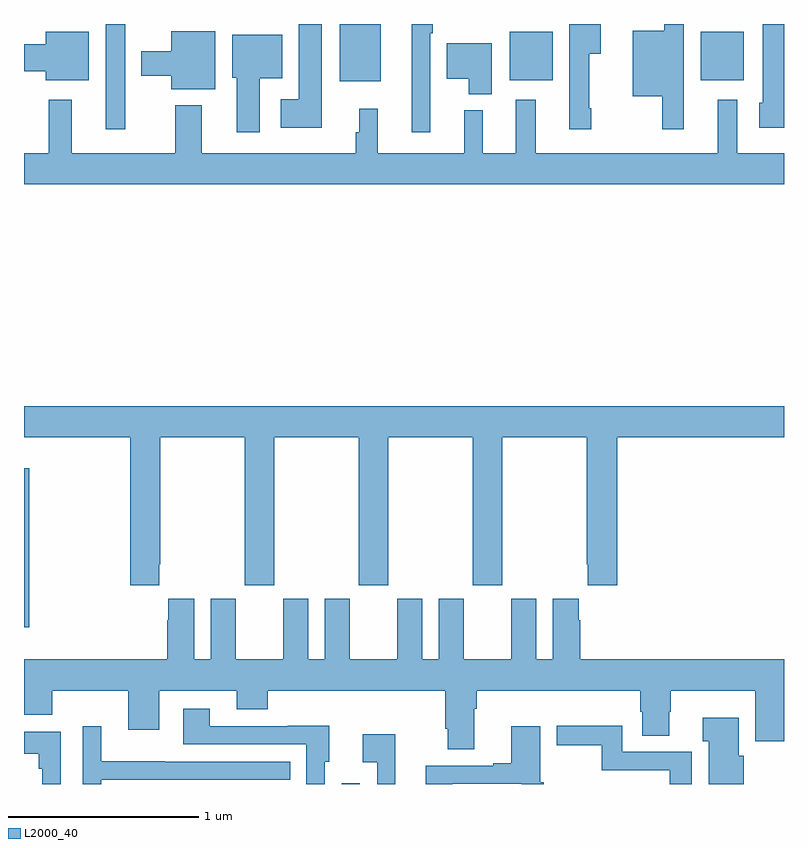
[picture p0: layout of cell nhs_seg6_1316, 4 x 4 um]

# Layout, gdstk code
import gdstk
lib = gdstk.Library(unit=1e-6, precision=1e-09)
def R(c, l, rs):  # rectangles x0, y0, x1, y1
    for r in rs: c.add(gdstk.rectangle(r[:2], r[2:], *l))
def P(c, l, *ps):  # polygons
    for p in ps: c.add(gdstk.Polygon(p, *l))
L2000_40 = (2000, 40)

nhs_seg6_1316 = lib.new_cell('nhs_seg6_1316')
R(nhs_seg6_1316, L2000_40, [(192.672,957.5,192.768,957.505), (191,958.326,191.027,959.161), (191.429,960.945,191.533,961.5), (192.662,961.199,192.877,961.5), (193.556,961.205,193.783,961.459), (194.561,961.205,194.788,961.459)])
P(nhs_seg6_1316, L2000_40, [(195,961.5),(194.888,961.5),(194.888,961.086),(194.87,961.086),(194.87,960.953),(195,960.953)],
  [(194.473,961.5),(194.369,961.5),(194.369,961.465),(194.204,961.465),(194.204,961.121),(194.359,961.121),(194.359,960.945),(194.473,960.945)],
  [(193.137,961.451),(193.15,961.451),(193.15,961.5),(193.04,961.5),(193.04,960.93),(193.137,960.93)],
  [(193.985,961.057),(193.975,961.057),(193.975,961.343),(194.035,961.343),(194.035,961.5),(193.871,961.5),(193.871,960.945),(193.985,960.945)],
  [(192.568,961.5),(192.446,961.5),(192.446,961.105),(192.351,961.105),(192.351,960.953),(192.568,960.953)],
  [(192.007,961.462),(191.774,961.462),(191.774,961.357),(191.618,961.357),(191.618,961.228),(191.774,961.228),(191.774,961.157),(192.007,961.157)],
  [(191.341,961.459),(191.114,961.459),(191.114,961.394),(191,961.394),(191,961.252),(191.114,961.252),(191.114,961.205),(191.341,961.205)],
  [(192.241,961.214),(192.358,961.214),(192.358,961.444),(192.095,961.444),(192.095,961.218),(192.119,961.218),(192.119,960.93),(192.241,960.93)],
  [(193.462,961.399),(193.226,961.399),(193.226,961.211),(193.34,961.211),(193.34,961.13),(193.462,961.13)],
  [(194.651,961.102),(194.651,960.82),(193.693,960.82),(193.693,961.102),(193.589,961.102),(193.589,960.82),(193.414,960.82),(193.414,961.045),(193.316,961.045),(193.316,960.82),(192.863,960.82),(192.863,961.054),(192.764,961.054),(192.764,960.929),(192.745,960.929),(192.745,960.82),(191.935,960.82),(191.935,961.072),(191.795,961.072),(191.795,960.82),(191.251,960.82),(191.251,961.102),(191.13,961.102),(191.13,960.82),(191,960.82),(191,960.656),(195,960.656),(195,960.82),(194.755,960.82),(194.755,961.102)],
  [(191,959.324),(191.558,959.324),(191.558,958.545),(191.713,958.545),(191.713,958.657),(191.718,958.657),(191.718,959.324),(192.163,959.324),(192.163,958.545),(192.318,958.545),(192.318,959.324),(192.763,959.324),(192.763,958.545),(192.918,958.545),(192.918,959.324),(193.363,959.324),(193.363,958.545),(193.518,958.545),(193.518,959.324),(193.963,959.324),(193.963,958.657),(193.967,958.657),(193.967,958.545),(194.123,958.545),(194.123,959.324),(195,959.324),(195,959.488),(191,959.488)],
  [(193.369,957.896),(193.382,957.896),(193.382,957.992),(194.243,957.992),(194.243,957.879),(194.255,957.879),(194.255,957.754),(194.395,957.754),(194.395,957.879),(194.403,957.879),(194.403,957.992),(194.849,957.992),(194.849,957.726),(195,957.726),(195,958.156),(193.928,958.156),(193.928,958.361),(193.921,958.361),(193.921,958.474),(193.784,958.474),(193.784,958.156),(193.696,958.156),(193.696,958.474),(193.565,958.474),(193.565,958.156),(193.315,958.156),(193.315,958.474),(193.184,958.474),(193.184,958.156),(193.096,958.156),(193.096,958.474),(192.965,958.474),(192.965,958.156),(192.715,958.156),(192.715,958.474),(192.584,958.474),(192.584,958.156),(192.496,958.156),(192.496,958.474),(192.365,958.474),(192.365,958.156),(192.115,958.156),(192.115,958.474),(191.984,958.474),(191.984,958.156),(191.896,958.156),(191.896,958.474),(191.759,958.474),(191.759,958.361),(191.753,958.361),(191.753,958.156),(191,958.156),(191,957.864),(191.149,957.864),(191.149,957.992),(191.549,957.992),(191.549,957.786),(191.713,957.786),(191.713,957.992),(192.119,957.992),(192.119,957.893),(192.283,957.893),(192.283,957.992),(193.217,957.992),(193.217,957.79),(193.229,957.79),(193.229,957.682),(193.369,957.682)],
  [(192.582,957.618),(192.607,957.618),(192.607,957.806),(192.389,957.806),(192.389,957.804),(191.977,957.804),(191.977,957.895),(191.837,957.895),(191.837,957.708),(192.486,957.708),(192.486,957.5),(192.582,957.5)],
  [(194.788,957.648),(194.761,957.648),(194.761,957.85),(194.573,957.85),(194.573,957.725),(194.603,957.725),(194.603,957.5),(194.788,957.5)],
  [(194.514,957.669),(194.148,957.669),(194.148,957.806),(193.803,957.806),(193.803,957.703),(194.04,957.703),(194.04,957.572),(194.398,957.572),(194.398,957.5),(194.514,957.5)],
  [(191.406,957.522),(192.401,957.522),(192.401,957.618),(191.741,957.618),(191.741,957.619),(191.407,957.619),(191.407,957.805),(191.31,957.805),(191.31,957.5),(191.406,957.5)],
  [(193.255,957.501),(193.62,957.501),(193.62,957.5),(193.736,957.5),(193.736,957.508),(193.716,957.508),(193.716,957.805),(193.565,957.805),(193.565,957.61),(193.469,957.61),(193.469,957.597),(193.115,957.597),(193.115,957.5),(193.255,957.5)],
  [(191.193,957.774),(191,957.774),(191,957.658),(191.077,957.658),(191.077,957.581),(191.096,957.581),(191.096,957.5),(191.193,957.5)],
  [(192.955,957.763),(192.783,957.763),(192.783,957.614),(192.858,957.614),(192.858,957.5),(192.955,957.5)])

lib.write_gds('nhs_seg6_1316.gds')
